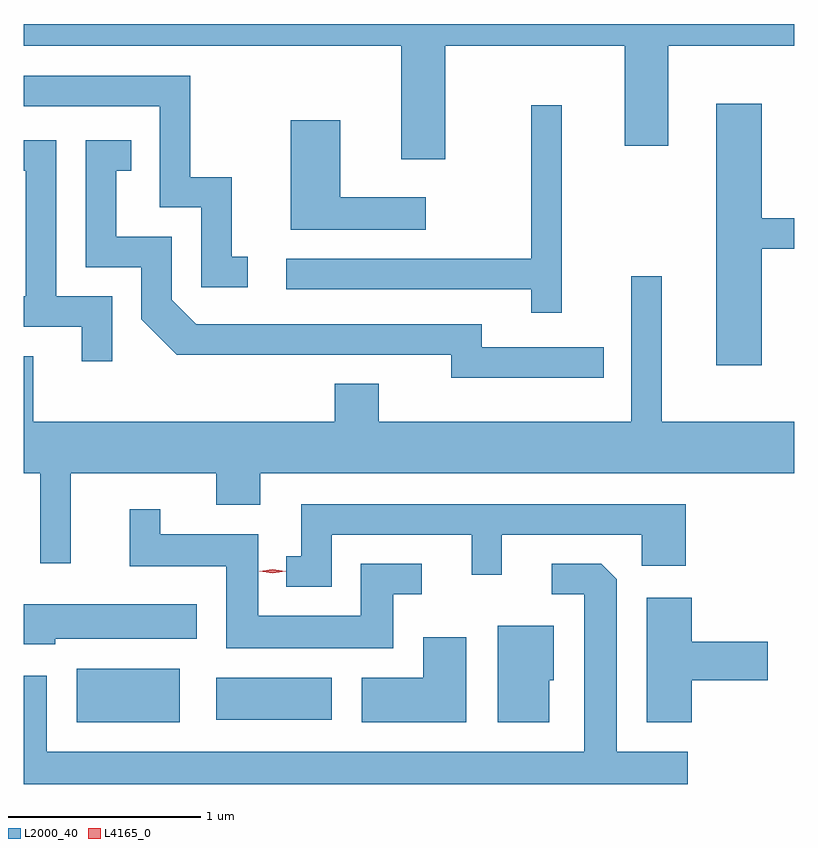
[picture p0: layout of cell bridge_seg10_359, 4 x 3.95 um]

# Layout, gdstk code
import gdstk
lib = gdstk.Library(unit=1e-6, precision=1e-09)
def R(c, l, rs):  # rectangles x0, y0, x1, y1
    for r in rs: c.add(gdstk.rectangle(r[:2], r[2:], *l))
def P(c, l, *ps):  # polygons
    for p in ps: c.add(gdstk.Polygon(p, *l))
L2000_40 = (2000, 40)
L4165_0 = (4165, 0)

bridge_seg10_359 = lib.new_cell('bridge_seg10_359')
R(bridge_seg10_359, L2000_40, [(1098.456,2094.861,1098.989,2095.139), (1099.181,2094.876,1099.779,2095.094)])
P(bridge_seg10_359, L2000_40, [(1100.369,2098.376),(1101.301,2098.376),(1101.301,2097.856),(1101.529,2097.856),(1101.529,2098.376),(1102.181,2098.376),(1102.181,2098.489),(1098.181,2098.489),(1098.181,2098.376),(1100.141,2098.376),(1100.141,2097.786),(1100.369,2097.786)],
  [(1099.343,2097.279),(1099.259,2097.279),(1099.259,2097.694),(1099.044,2097.694),(1099.044,2098.219),(1098.181,2098.219),(1098.181,2098.061),(1098.886,2098.061),(1098.886,2097.536),(1099.101,2097.536),(1099.101,2097.121),(1099.343,2097.121)],
  [(1102.014,2097.321),(1102.181,2097.321),(1102.181,2097.479),(1102.014,2097.479),(1102.014,2098.074),(1101.776,2098.074),(1101.776,2096.716),(1102.014,2096.716)],
  [(1100.974,2098.068),(1100.816,2098.068),(1100.816,2097.269),(1099.543,2097.269),(1099.543,2097.111),(1100.816,2097.111),(1100.816,2096.988),(1100.974,2096.988)],
  [(1100.268,2097.589),(1099.824,2097.589),(1099.824,2097.989),(1099.566,2097.989),(1099.566,2097.421),(1100.268,2097.421)],
  [(1098.639,2097.074),(1098.349,2097.074),(1098.349,2097.884),(1098.181,2097.884),(1098.181,2097.726),(1098.191,2097.726),(1098.191,2097.074),(1098.181,2097.074),(1098.181,2096.916),(1098.481,2096.916),(1098.481,2096.738),(1098.639,2096.738)],
  [(1101.193,2096.809),(1100.559,2096.809),(1100.559,2096.929),(1099.077,2096.929),(1098.949,2097.057),(1098.949,2097.384),(1098.659,2097.384),(1098.659,2097.726),(1098.738,2097.726),(1098.738,2097.884),(1098.501,2097.884),(1098.501,2097.226),(1098.791,2097.226),(1098.791,2096.954),(1098.974,2096.771),(1100.401,2096.771),(1100.401,2096.651),(1101.193,2096.651)],
  [(1098.424,2096.156),(1099.181,2096.156),(1099.181,2095.991),(1099.409,2095.991),(1099.409,2096.156),(1102.181,2096.156),(1102.181,2096.424),(1101.494,2096.424),(1101.494,2097.178),(1101.336,2097.178),(1101.336,2096.424),(1100.024,2096.424),(1100.024,2096.619),(1099.796,2096.619),(1099.796,2096.424),(1098.229,2096.424),(1098.229,2096.764),(1098.181,2096.764),(1098.181,2096.156),(1098.266,2096.156),(1098.266,2095.688),(1098.424,2095.688)],
  [(1099.779,2095.836),(1100.506,2095.836),(1100.506,2095.628),(1100.664,2095.628),(1100.664,2095.836),(1101.391,2095.836),(1101.391,2095.676),(1101.619,2095.676),(1101.619,2095.994),(1099.621,2095.994),(1099.621,2095.724),(1099.543,2095.724),(1099.543,2095.566),(1099.779,2095.566)],
  [(1100.099,2095.526),(1100.248,2095.526),(1100.248,2095.684),(1099.931,2095.684),(1099.931,2095.414),(1099.399,2095.414),(1099.399,2095.839),(1098.889,2095.839),(1098.889,2095.968),(1098.731,2095.968),(1098.731,2095.671),(1099.231,2095.671),(1099.231,2095.246),(1100.099,2095.246)],
  [(1101.628,2094.709),(1101.259,2094.709),(1101.259,2095.604),(1101.179,2095.684),(1100.923,2095.684),(1100.923,2095.526),(1101.091,2095.526),(1101.091,2094.709),(1098.299,2094.709),(1098.299,2095.104),(1098.181,2095.104),(1098.181,2094.541),(1101.628,2094.541)],
  [(1101.649,2095.081),(1102.044,2095.081),(1102.044,2095.279),(1101.649,2095.279),(1101.649,2095.509),(1101.416,2095.509),(1101.416,2094.861),(1101.649,2094.861)],
  [(1098.344,2095.296),(1099.079,2095.296),(1099.079,2095.474),(1098.181,2095.474),(1098.181,2095.266),(1098.344,2095.266)],
  [(1100.909,2095.081),(1100.934,2095.081),(1100.934,2095.364),(1100.641,2095.364),(1100.641,2094.861),(1100.909,2094.861)],
  [(1100.479,2095.304),(1100.256,2095.304),(1100.256,2095.094),(1099.936,2095.094),(1099.936,2094.861),(1100.479,2094.861)])
P(bridge_seg10_359, L4165_0, [(1099.472,2095.636),(1099.402,2095.645),(1099.402,2095.646),(1099.402,2095.646),(1099.472,2095.656),(1099.541,2095.646),(1099.541,2095.646),(1099.541,2095.645)])

lib.write_gds('bridge_seg10_359.gds')
